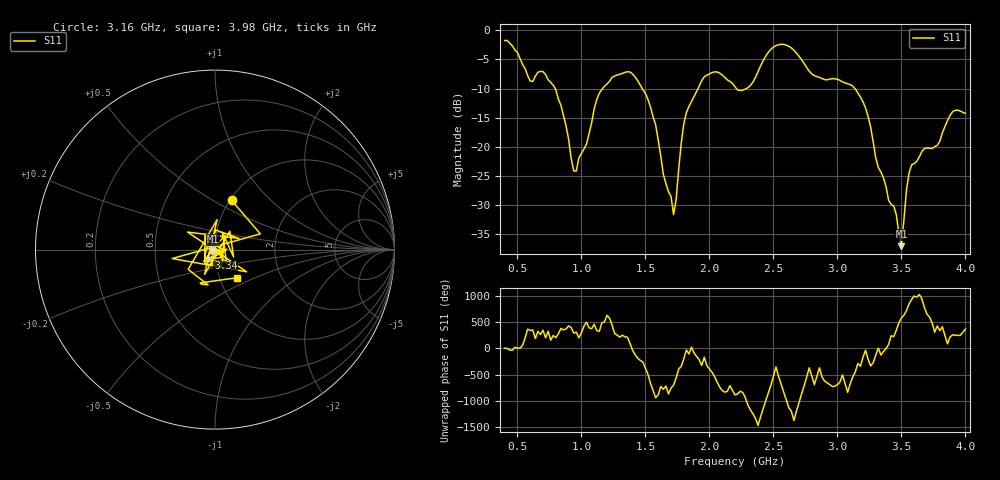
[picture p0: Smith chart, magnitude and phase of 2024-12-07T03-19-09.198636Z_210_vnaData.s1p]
!Created with skrf (http://scikit-rf.org).
# Hz S RI R 50.0
!freq ReS11 ImS11
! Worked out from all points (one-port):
!   181 points, 400 MHz to 4 GHz, reference 50 ohm
!   lowest |S11| = -37.1 dB at 3.5 GHz (marker M1), VSWR 1.03, Z = 48.9 - j0.892 ohm
!   |S11| at or under -10 dB: 794.9 MHz to 1.165 GHz (370.5 MHz wide, 37.8 % of centre); 1.476 GHz to 1.911 GHz (435.1 MHz wide, 25.7 % of centre); 3.138 GHz to end of sweep (the widest 3 of 4)
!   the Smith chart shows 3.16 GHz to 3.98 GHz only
!   S11 on the Smith chart (normalised r, x): 3.16 GHz: 1.02, +0.61; 3.34 GHz: 0.93, -0.09; 3.98 GHz: 1.20, -0.39
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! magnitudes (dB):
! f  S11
! 400 MHz  -1.8
! 600 MHz  -8.7
! 720 MHz  -7.6
! 860 MHz  -14.7
! 960 MHz  -24.2
! 1.14 GHz  -10.8
! 1.3 GHz  -7.5
! 1.4 GHz  -7.5
! 1.52 GHz  -11.9
! 1.72 GHz  -31.6
! 1.76 GHz  -23.8
! 1.82 GHz  -14.1
! 1.96 GHz  -8.0
! 2.2 GHz  -9.7
! 2.32 GHz  -9.5
! 2.5 GHz  -2.9
! 2.66 GHz  -3.4
! 2.82 GHz  -7.8
! 3.1 GHz  -9.3
! 3.16 GHz  -10.8
! 3.34 GHz  -24.3
! 3.46 GHz  -31.7
! 3.5 GHz  -37.1
! 3.56 GHz  -24.5
! 3.78 GHz  -19.7
! 3.9 GHz  -14.0
! 3.98 GHz  -14.1
! 4 GHz  -14.2
